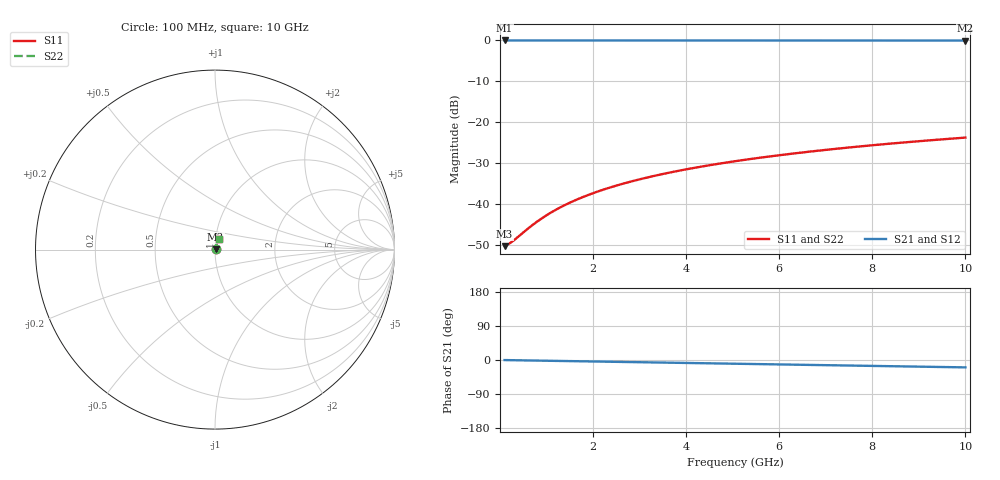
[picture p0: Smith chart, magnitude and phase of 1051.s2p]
# Hz S RI R 50.00
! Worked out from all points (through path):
!   100 points, 100 MHz to 10 GHz, reference 50 ohm
!   highest |S21| = -0.03 dB at 100 MHz (marker M1); lowest = 0.0 dB at 10 GHz (marker M2)
!   group delay of S21, straight-line fit = 5.41 ps
!   lowest |S11| = -50.3 dB at 100 MHz (marker M3), VSWR 1.01, Z = 50.3 + j0.0655 ohm
!   |S11| at or under -10 dB: start of sweep to end of sweep
!   |S22| runs from -50.3 to -23.8 dB; largest |S21 - S12| = 0
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1e8  0.00299 0.000651  0.997 -0.00338  0.997 -0.00338  0.00299 0.000651
2e8  0.00301 0.0013  0.997 -0.00677  0.997 -0.00677  0.00301 0.0013
3e8  0.00304 0.00195  0.9969 -0.0102  0.9969 -0.0102  0.00304 0.00195
7e8  0.00316 0.00455  0.9966 -0.0237  0.9966 -0.0237  0.00316 0.00455
8e8  0.0032 0.0052  0.9965 -0.0271  0.9965 -0.0271  0.0032 0.0052
1e9  0.00329 0.0065  0.9963 -0.0338  0.9963 -0.0338  0.00329 0.0065
1.2e9  0.0034 0.0078  0.996 -0.0406  0.996 -0.0406  0.0034 0.0078
1.4e9  0.00352 0.00909  0.9957 -0.0474  0.9957 -0.0474  0.00352 0.00909
1.6e9  0.00366 0.0104  0.9953 -0.0541  0.9953 -0.0541  0.00366 0.0104
1.8e9  0.00382 0.0117  0.9949 -0.0609  0.9949 -0.0609  0.00382 0.0117
2.1e9  0.00409 0.0136  0.9942 -0.071  0.9942 -0.071  0.00409 0.0136
2.5e9  0.0045 0.0162  0.9931 -0.0845  0.9931 -0.0845  0.0045 0.0162
2.9e9  0.00499 0.0187  0.9918 -0.098  0.9918 -0.098  0.00499 0.0187
3.4e9  0.00569 0.0219  0.9899 -0.1148  0.9899 -0.1148  0.00569 0.0219
3.8e9  0.00633 0.0244  0.9882 -0.1282  0.9882 -0.1282  0.00633 0.0244
4.2e9  0.00704 0.0269  0.9862 -0.1416  0.9862 -0.1416  0.00704 0.0269
5.1e9  0.00888 0.0325  0.9812 -0.1717  0.9812 -0.1717  0.00888 0.0325
5.9e9  0.0108 0.0373  0.976 -0.1983  0.976 -0.1983  0.0108 0.0373
6.7e9  0.013 0.042  0.97 -0.2247  0.97 -0.2247  0.013 0.042
7.5e9  0.0154 0.0466  0.9632 -0.251  0.9632 -0.251  0.0154 0.0466
8.4e9  0.0185 0.0516  0.9548 -0.2803  0.9548 -0.2803  0.0185 0.0516
1e10  0.0246 0.06  0.9375 -0.3317  0.9375 -0.3317  0.0246 0.06
